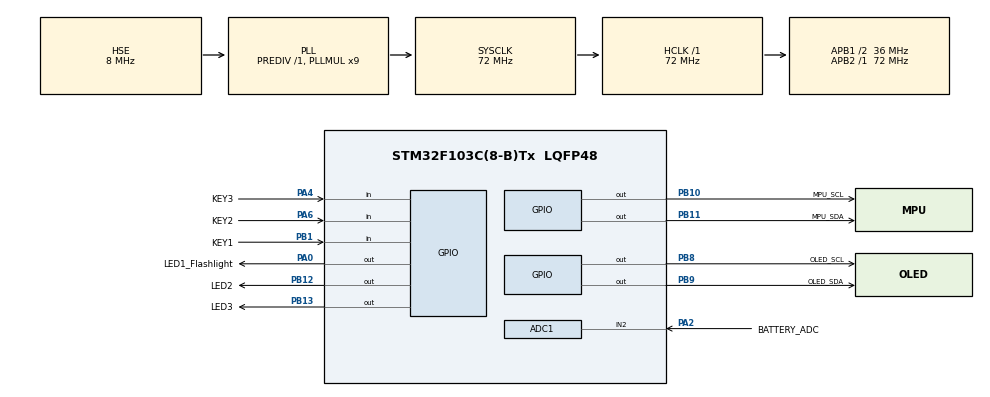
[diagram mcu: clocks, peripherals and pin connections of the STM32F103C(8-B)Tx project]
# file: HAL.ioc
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ADC1.Channel-0\#ChannelRegularConversion=ADC_CHANNEL_2
ADC1.NbrOfConversionFlag=1
ADC1.Rank-0\#ChannelRegularConversion=1
ADC1.SamplingTime-0\#ChannelRegularConversion=ADC_SAMPLETIME_1CYCLE_5
ADC1.master=1
FREERTOS.Tasks01=defaultTask,0,128,StartDefaultTask,Default,NULL,Dynamic,NULL,NULL
FREERTOS.configCHECK_FOR_STACK_OVERFLOW=2
FREERTOS.configLIBRARY_MAX_SYSCALL_INTERRUPT_PRIORITY=3
FREERTOS.configMAX_PRIORITIES=5
FREERTOS.configQUEUE_REGISTRY_SIZE=0
FREERTOS.configTOTAL_HEAP_SIZE=10240
FREERTOS.configUSE_IDLE_HOOK=1
FREERTOS.configUSE_MALLOC_FAILED_HOOK=1
FREERTOS.configUSE_STATS_FORMATTING_FUNCTIONS=1
FREERTOS.configUSE_TIMERS=1
FREERTOS.configUSE_TRACE_FACILITY=1
Mcu.Family=STM32F1
Mcu.Name=STM32F103C(8-B)Tx
Mcu.Package=LQFP48
NVIC.PriorityGroup=NVIC_PRIORITYGROUP_4
NVIC.TIM2_IRQn=true\:4\:0\:true\:false\:true\:true\:true\:true\:true
PA0-WKUP.GPIO_Label=LED1_Flashlight
PA0-WKUP.GPIO_ModeDefaultOutputPP=GPIO_MODE_OUTPUT_PP
PA0-WKUP.GPIO_Speed=GPIO_SPEED_FREQ_HIGH
PA0-WKUP.PinState=GPIO_PIN_SET
PA0-WKUP.Signal=GPIO_Output
PA13.Mode=Serial_Wire
PA13.Signal=SYS_JTMS-SWDIO
PA14.Mode=Serial_Wire
PA14.Signal=SYS_JTCK-SWCLK
PA2.GPIO_Label=BATTERY_ADC
PA2.Signal=ADCx_IN2
PA4.GPIO_Label=KEY3
PA4.GPIO_PuPd=GPIO_PULLUP
PA4.Signal=GPIO_Input
PA6.GPIO_Label=KEY2
PA6.GPIO_PuPd=GPIO_PULLUP
PA6.Signal=GPIO_Input
PB1.GPIO_Label=KEY1
PB1.GPIO_PuPd=GPIO_PULLUP
PB1.Signal=GPIO_Input
PB10.GPIO_Label=MPU_SCL
PB10.GPIO_ModeDefaultOutputPP=GPIO_MODE_OUTPUT_OD
PB10.GPIO_PuPd=GPIO_NOPULL
PB10.GPIO_Speed=GPIO_SPEED_FREQ_HIGH
PB10.Signal=GPIO_Output
PB11.GPIO_Label=MPU_SDA
PB11.GPIO_ModeDefaultOutputPP=GPIO_MODE_OUTPUT_OD
PB11.GPIO_PuPd=GPIO_NOPULL
PB11.GPIO_Speed=GPIO_SPEED_FREQ_HIGH
PB11.Signal=GPIO_Output
PB12.GPIO_Label=LED2
PB12.GPIO_ModeDefaultOutputPP=GPIO_MODE_OUTPUT_PP
PB12.GPIO_Speed=GPIO_SPEED_FREQ_HIGH
PB12.Signal=GPIO_Output
PB13.GPIO_Label=LED3
PB13.GPIO_Speed=GPIO_SPEED_FREQ_HIGH
PB13.PinState=GPIO_PIN_SET
PB13.Signal=GPIO_Output
PB8.GPIO_Label=OLED_SCL
PB8.GPIO_ModeDefaultOutputPP=GPIO_MODE_OUTPUT_OD
PB8.GPIO_PuPd=GPIO_NOPULL
PB8.GPIO_Speed=GPIO_SPEED_FREQ_HIGH
PB8.Signal=GPIO_Output
PB9.GPIO_Label=OLED_SDA
PB9.GPIO_ModeDefaultOutputPP=GPIO_MODE_OUTPUT_OD
PB9.GPIO_PuPd=GPIO_NOPULL
PB9.GPIO_Speed=GPIO_SPEED_FREQ_HIGH
PB9.Signal=GPIO_Output
PC14-OSC32_IN.Mode=LSE-External-Oscillator
PC14-OSC32_IN.Signal=RCC_OSC32_IN
PC15-OSC32_OUT.Mode=LSE-External-Oscillator
PC15-OSC32_OUT.Signal=RCC_OSC32_OUT
PD0-OSC_IN.Mode=HSE-External-Oscillator
PD0-OSC_IN.Signal=RCC_OSC_IN
PD1-OSC_OUT.Mode=HSE-External-Oscillator
PD1-OSC_OUT.Signal=RCC_OSC_OUT
ProjectManager.HeapSize=0x200
ProjectManager.StackSize=0x400
ProjectManager.TargetToolchain=MDK-ARM V5.32
RCC.ADCPresc=RCC_ADCPCLK2_DIV6
RCC.AHBFreq_Value=72000000
RCC.APB1CLKDivider=RCC_HCLK_DIV2
RCC.APB1Freq_Value=36000000
RCC.APB1TimFreq_Value=72000000
RCC.APB2Freq_Value=72000000
RCC.APB2TimFreq_Value=72000000
RCC.HCLKFreq_Value=72000000
RCC.PLLMUL=RCC_PLL_MUL9
RCC.PLLSourceVirtual=RCC_PLLSOURCE_HSE
RCC.RTCClockSelection=RCC_RTCCLKSOURCE_LSE
RCC.SYSCLKFreq_VALUE=72000000
RCC.SYSCLKSource=RCC_SYSCLKSOURCE_PLLCLK
RCC.USBFreq_Value=72000000
RTC.AsynchPrediv=32767
RTC.AutoPrediv=0
SH.ADCx_IN2.0=ADC1_IN2,IN2
TIM2.AutoReloadPreload=TIM_AUTORELOAD_PRELOAD_ENABLE
TIM2.Period=99
TIM2.Prescaler=719
VP_FREERTOS_VS_CMSIS_V1.Mode=CMSIS_V1
VP_RTC_VS_RTC_Activate.Mode=RTC_Enabled
VP_RTC_VS_RTC_Calendar.Mode=RTC_Calendar
VP_TIM2_VS_ClockSourceINT.Mode=Internal
board=custom

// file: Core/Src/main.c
/* USER CODE BEGIN Header */
/**
  ******************************************************************************
  * @file           : main.c
  * @brief          : Main program body
  ******************************************************************************
  * @attention
  *
  * Copyright (c) 2026 STMicroelectronics.
  * All rights reserved.
  *
  * This software is licensed under terms that can be found in the LICENSE file
  * in the root directory of this software component.
  * If no LICENSE file comes with this software, it is provided AS-IS.
  *
  ******************************************************************************
  */
/* USER CODE END Header */
#include "main.h"
#include "cmsis_os.h"

/* USER CODE BEGIN Includes */
#include "Hardware/Key.h"
#include "Hardware/OLED.h"
#include "Hardware/menu.h"
#include "Hardware/MPU6050.h"
#include "MyRTC.h"
#include "FreeRTOS.h"
#include "task.h"
/* USER CODE END Includes */

ADC_HandleTypeDef hadc1;

RTC_HandleTypeDef hrtc;

TIM_HandleTypeDef htim2;

//osThreadId defaultTaskHandle;
/* USER CODE BEGIN PV */
/* Phase 3: ClockUI_Move_Flag removed — replaced by g_CurrentPage state machine */
/* USER CODE END PV */

void SystemClock_Config(void);
static void MX_GPIO_Init(void);
static void MX_ADC1_Init(void);
static void MX_TIM2_Init(void);
static void MX_RTC_Init(void);
//void StartDefaultTask(void const * argument);

/* USER CODE BEGIN PFP */
extern void Task_Input(void *pvParameters);
extern void Task_UI(void *pvParameters);
extern void Task_Sensor(void *pvParameters);
/* USER CODE END PFP */

int main(void)
{

  /* MCU Configuration--------------------------------------------------------*/

  /* Reset of all peripherals, Initializes the Flash interface and the Systick. */
  HAL_Init();

  /* Configure the system clock */
  SystemClock_Config();

  /* Initialize all configured peripherals */
  MX_GPIO_Init();
  MX_ADC1_Init();
  MX_TIM2_Init();
  MX_RTC_Init();
  /* USER CODE BEGIN 2 */
  Key_Init();
  OLED_Init();
  MPU6050_Init();
  MyRTC_Init();
  HAL_TIM_Base_Start_IT(&htim2);	/* 启动TIM2中断，1ms周期调用KeyTick/StopClock_Tick等回调 */

  OLED_Clear();
  Show_Clock_UI();
  OLED_Update();
  /* USER CODE END 2 */

  /* Create the thread(s) */
  /* definition and creation of defaultTask */
  //osThreadDef(defaultTask, StartDefaultTask, osPriorityNormal, 0, 128);
  //defaultTaskHandle = osThreadCreate(osThread(defaultTask), NULL);

  /* USER CODE BEGIN RTOS_THREADS */
  /* Phase 2: 创建 Task_Input — 按键处理任务（优先级 3，栈 384 bytes） */
  xTaskCreate(Task_Input, "Task_Input", 96, NULL, 3, &Task_Input_Handle);
  /* Phase 3: 创建 Task_UI — 统一页面渲染任务（优先级 2，栈 1280 bytes） */
  xTaskCreate(Task_UI, "Task_UI", 320, NULL, 2, &Task_UI_Handle);
  /* Phase 4: 创建 Task_Sensor — 传感器数据处理任务（优先级 1，栈 128 bytes） */
  xTaskCreate(Task_Sensor, "Task_Sensor", 128, NULL, 1, &Task_Sensor_Handle);
  /* USER CODE END RTOS_THREADS */

  /* Start scheduler */
  osKernelStart();

  /* We should never get here as control is now taken by the scheduler */

  /* Infinite loop */
  while (1)
  {

    /* USER CODE BEGIN 3 */
    /* Phase 3: 裸机超级循环已移除。
     * 所有页面渲染由 Task_UI (优先级 2) 统一管理，
     * 按键输入由 Task_Input (优先级 3) 处理。
     * 调度器启动后永远不会执行到这里。 */
  }
  /* USER CODE END 3 */
}

void SystemClock_Config(void)
{
  RCC_OscInitTypeDef RCC_OscInitStruct = {0};
  RCC_ClkInitTypeDef RCC_ClkInitStruct = {0};
  RCC_PeriphCLKInitTypeDef PeriphClkInit = {0};

  /** Initializes the RCC Oscillators according to the specified parameters
  * in the RCC_OscInitTypeDef structure.
  */
  RCC_OscInitStruct.OscillatorType = RCC_OSCILLATORTYPE_HSE|RCC_OSCILLATORTYPE_LSE;
  RCC_OscInitStruct.HSEState = RCC_HSE_ON;
  RCC_OscInitStruct.HSEPredivValue = RCC_HSE_PREDIV_DIV1;
  RCC_OscInitStruct.LSEState = RCC_LSE_ON;
  RCC_OscInitStruct.HSIState = RCC_HSI_ON;
  RCC_OscInitStruct.PLL.PLLState = RCC_PLL_ON;
  RCC_OscInitStruct.PLL.PLLSource = RCC_PLLSOURCE_HSE;
  RCC_OscInitStruct.PLL.PLLMUL = RCC_PLL_MUL9;
  if (HAL_RCC_OscConfig(&RCC_OscInitStruct) != HAL_OK)
  {
    Error_Handler();
  }

  /** Initializes the CPU, AHB and APB buses clocks
  */
  RCC_ClkInitStruct.ClockType = RCC_CLOCKTYPE_HCLK|RCC_CLOCKTYPE_SYSCLK
                              |RCC_CLOCKTYPE_PCLK1|RCC_CLOCKTYPE_PCLK2;
  RCC_ClkInitStruct.SYSCLKSource = RCC_SYSCLKSOURCE_PLLCLK;
  RCC_ClkInitStruct.AHBCLKDivider = RCC_SYSCLK_DIV1;
  RCC_ClkInitStruct.APB1CLKDivider = RCC_HCLK_DIV2;
  RCC_ClkInitStruct.APB2CLKDivider = RCC_HCLK_DIV1;

  if (HAL_RCC_ClockConfig(&RCC_ClkInitStruct, FLASH_LATENCY_2) != HAL_OK)
  {
    Error_Handler();
  }
  PeriphClkInit.PeriphClockSelection = RCC_PERIPHCLK_RTC|RCC_PERIPHCLK_ADC;
  PeriphClkInit.RTCClockSelection = RCC_RTCCLKSOURCE_LSE;
  PeriphClkInit.AdcClockSelection = RCC_ADCPCLK2_DIV6;
  if (HAL_RCCEx_PeriphCLKConfig(&PeriphClkInit) != HAL_OK)
  {
    Error_Handler();
  }
}

static void MX_ADC1_Init(void)
{

  ADC_ChannelConfTypeDef sConfig = {0};

  /** Common config
  */
  hadc1.Instance = ADC1;
  hadc1.Init.ScanConvMode = ADC_SCAN_DISABLE;
  hadc1.Init.ContinuousConvMode = DISABLE;
  hadc1.Init.DiscontinuousConvMode = DISABLE;
  hadc1.Init.ExternalTrigConv = ADC_SOFTWARE_START;
  hadc1.Init.DataAlign = ADC_DATAALIGN_RIGHT;
  hadc1.Init.NbrOfConversion = 1;
  if (HAL_ADC_Init(&hadc1) != HAL_OK)
  {
    Error_Handler();
  }

  /** Configure Regular Channel
  */
  sConfig.Channel = ADC_CHANNEL_2;
  sConfig.Rank = ADC_REGULAR_RANK_1;
  sConfig.SamplingTime = ADC_SAMPLETIME_1CYCLE_5;
  if (HAL_ADC_ConfigChannel(&hadc1, &sConfig) != HAL_OK)
  {
    Error_Handler();
  }

}

static void MX_RTC_Init(void)
{

  RTC_TimeTypeDef sTime = {0};
  RTC_DateTypeDef DateToUpdate = {0};

  /** Initialize RTC Only
  */
  hrtc.Instance = RTC;
  hrtc.Init.AsynchPrediv = 32767;
  hrtc.Init.OutPut = RTC_OUTPUTSOURCE_ALARM;
  if (HAL_RTC_Init(&hrtc) != HAL_OK)
  {
    Error_Handler();
  }

  /* USER CODE BEGIN Check_RTC_BKUP */
  if (HAL_RTCEx_BKUPRead(&hrtc, RTC_BKP_DR1) == 0xA5A5)
  {
    return;
  }
  /* USER CODE END Check_RTC_BKUP */

  /** Initialize RTC and set the Time and Date
  */
  sTime.Hours = 0x0;
  sTime.Minutes = 0x0;
  sTime.Seconds = 0x0;

  if (HAL_RTC_SetTime(&hrtc, &sTime, RTC_FORMAT_BCD) != HAL_OK)
  {
    Error_Handler();
  }
  DateToUpdate.WeekDay = RTC_WEEKDAY_MONDAY;
  DateToUpdate.Month = RTC_MONTH_JANUARY;
  DateToUpdate.Date = 0x1;
  DateToUpdate.Year = 0x0;

  if (HAL_RTC_SetDate(&hrtc, &DateToUpdate, RTC_FORMAT_BCD) != HAL_OK)
  {
    Error_Handler();
  }

}

static void MX_TIM2_Init(void)
{

  TIM_ClockConfigTypeDef sClockSourceConfig = {0};
  TIM_MasterConfigTypeDef sMasterConfig = {0};

  htim2.Instance = TIM2;
  htim2.Init.Prescaler = 719;
  htim2.Init.CounterMode = TIM_COUNTERMODE_UP;
  htim2.Init.Period = 99;
  htim2.Init.ClockDivision = TIM_CLOCKDIVISION_DIV1;
  htim2.Init.AutoReloadPreload = TIM_AUTORELOAD_PRELOAD_ENABLE;
  if (HAL_TIM_Base_Init(&htim2) != HAL_OK)
  {
    Error_Handler();
  }
  sClockSourceConfig.ClockSource = TIM_CLOCKSOURCE_INTERNAL;
  if (HAL_TIM_ConfigClockSource(&htim2, &sClockSourceConfig) != HAL_OK)
  {
    Error_Handler();
  }
  sMasterConfig.MasterOutputTrigger = TIM_TRGO_RESET;
  sMasterConfig.MasterSlaveMode = TIM_MASTERSLAVEMODE_DISABLE;
  if (HAL_TIMEx_MasterConfigSynchronization(&htim2, &sMasterConfig) != HAL_OK)
  {
    Error_Handler();
  }

}

static void MX_GPIO_Init(void)
{
  GPIO_InitTypeDef GPIO_InitStruct = {0};

  /* GPIO Ports Clock Enable */
  __HAL_RCC_GPIOC_CLK_ENABLE();
  __HAL_RCC_GPIOD_CLK_ENABLE();
  __HAL_RCC_GPIOA_CLK_ENABLE();
  __HAL_RCC_GPIOB_CLK_ENABLE();

  /*Configure GPIO pin Output Level */
  HAL_GPIO_WritePin(LED1_Flashlight_GPIO_Port, LED1_Flashlight_Pin, GPIO_PIN_SET);

  /*Configure GPIO pin Output Level */
  HAL_GPIO_WritePin(GPIOB, MPU_SCL_Pin|MPU_SDA_Pin|LED2_Pin|OLED_SCL_Pin
                          |OLED_SDA_Pin, GPIO_PIN_RESET);

  /*Configure GPIO pin Output Level */
  HAL_GPIO_WritePin(LED3_GPIO_Port, LED3_Pin, GPIO_PIN_SET);

  /*Configure GPIO pin : LED1_Flashlight_Pin */
  GPIO_InitStruct.Pin = LED1_Flashlight_Pin;
  GPIO_InitStruct.Mode = GPIO_MODE_OUTPUT_PP;
  GPIO_InitStruct.Pull = GPIO_NOPULL;
  GPIO_InitStruct.Speed = GPIO_SPEED_FREQ_HIGH;
  HAL_GPIO_Init(LED1_Flashlight_GPIO_Port, &GPIO_InitStruct);

  /*Configure GPIO pins : KEY3_Pin KEY2_Pin */
  GPIO_InitStruct.Pin = KEY3_Pin|KEY2_Pin;
  GPIO_InitStruct.Mode = GPIO_MODE_INPUT;
  GPIO_InitStruct.Pull = GPIO_PULLUP;
  HAL_GPIO_Init(GPIOA, &GPIO_InitStruct);

  /*Configure GPIO pin : KEY1_Pin */
  GPIO_InitStruct.Pin = KEY1_Pin;
  GPIO_InitStruct.Mode = GPIO_MODE_INPUT;
  GPIO_InitStruct.Pull = GPIO_PULLUP;
  HAL_GPIO_Init(KEY1_GPIO_Port, &GPIO_InitStruct);

  /*Configure GPIO pins : MPU_SCL_Pin MPU_SDA_Pin OLED_SCL_Pin OLED_SDA_Pin */
  GPIO_InitStruct.Pin = MPU_SCL_Pin|MPU_SDA_Pin|OLED_SCL_Pin|OLED_SDA_Pin;
  GPIO_InitStruct.Mode = GPIO_MODE_OUTPUT_OD;
  GPIO_InitStruct.Pull = GPIO_NOPULL;
  GPIO_InitStruct.Speed = GPIO_SPEED_FREQ_HIGH;
  HAL_GPIO_Init(GPIOB, &GPIO_InitStruct);

  /*Configure GPIO pins : LED2_Pin LED3_Pin */
  GPIO_InitStruct.Pin = LED2_Pin|LED3_Pin;
  GPIO_InitStruct.Mode = GPIO_MODE_OUTPUT_PP;
  GPIO_InitStruct.Pull = GPIO_NOPULL;
  GPIO_InitStruct.Speed = GPIO_SPEED_FREQ_HIGH;
  HAL_GPIO_Init(GPIOB, &GPIO_InitStruct);

}

// void StartDefaultTask(void const * argument)
// {
  /* USER CODE BEGIN 5 */
  /* Infinite loop */
  // for(;;)
  // {
  //   osDelay(1);
  // }
  /* USER CODE END 5 */
// }

void Error_Handler(void)
{
  __disable_irq();
  while (1)
  {
  }
}

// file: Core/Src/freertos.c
/* USER CODE BEGIN Header */
/**
  ******************************************************************************
  * File Name          : freertos.c
  * Description        : Code for freertos applications
  ******************************************************************************
  * @attention
  *
  * Copyright (c) 2026 STMicroelectronics.
  * All rights reserved.
  *
  * This software is licensed under terms that can be found in the LICENSE file
  * in the root directory of this software component.
  * If no LICENSE file comes with this software, it is provided AS-IS.
  *
  ******************************************************************************
  */
/* USER CODE END Header */

#include "FreeRTOS.h"
#include "task.h"
#include "main.h"

/* USER CODE BEGIN Includes */
#include "Hardware/Key.h"
#include "power.h"
#include "Hardware/menu.h"
#include "Hardware/MPU6050.h"
/* USER CODE END Includes */

/* USER CODE BEGIN FunctionPrototypes */
void Task_Input(void *pvParameters);
void Task_UI(void *pvParameters);
void Task_Sensor(void *pvParameters);
extern void Task_UI_RenderFrame(uint8_t key);
/* USER CODE END FunctionPrototypes */

/* GetIdleTaskMemory prototype (linked to static allocation support) */
void vApplicationGetIdleTaskMemory( StaticTask_t **ppxIdleTaskTCBBuffer, StackType_t **ppxIdleTaskStackBuffer, uint32_t *pulIdleTaskStackSize );

/* GetTimerTaskMemory prototype (linked to static allocation support) */
void vApplicationGetTimerTaskMemory( StaticTask_t **ppxTimerTaskTCBBuffer, StackType_t **ppxTimerTaskStackBuffer, uint32_t *pulTimerTaskStackSize );

/* Hook prototypes */
void vApplicationIdleHook(void);
void vApplicationStackOverflowHook(xTaskHandle xTask, signed char *pcTaskName);
void vApplicationMallocFailedHook(void);

/* USER CODE BEGIN 2 */
void vApplicationIdleHook( void )
{
   /* Phase 3: 统一休眠点 — 替代原 9 个页面函数中各自的手动 __WFI()
    * 空闲任务每次迭代执行 WFI，MCU 进入低功耗等待中断唤醒。
    * 不能阻塞、不能调用 API。 */
   __WFI();
}
/* USER CODE END 2 */

/* USER CODE BEGIN 4 */
__weak void vApplicationStackOverflowHook(xTaskHandle xTask, signed char *pcTaskName)
{
   /* Run time stack overflow checking is performed if
   configCHECK_FOR_STACK_OVERFLOW is defined to 1 or 2. This hook function is
   called if a stack overflow is detected. */
}
/* USER CODE END 4 */

/* USER CODE BEGIN 5 */
__weak void vApplicationMallocFailedHook(void)
{
   /* vApplicationMallocFailedHook() will only be called if
   configUSE_MALLOC_FAILED_HOOK is set to 1 in FreeRTOSConfig.h. It is a hook
   function that will get called if a call to pvPortMalloc() fails.
   pvPortMalloc() is called internally by the kernel whenever a task, queue,
   timer or semaphore is created. It is also called by various parts of the
   demo application. If heap_1.c or heap_2.c are used, then the size of the
   heap available to pvPortMalloc() is defined by configTOTAL_HEAP_SIZE in
   FreeRTOSConfig.h, and the xPortGetFreeHeapSize() API function can be used
   to query the size of free heap space that remains (although it does not
   provide information on how the remaining heap might be fragmented). */
}
/* USER CODE END 5 */

/* USER CODE BEGIN GET_IDLE_TASK_MEMORY */
static StaticTask_t xIdleTaskTCBBuffer;
static StackType_t xIdleStack[configMINIMAL_STACK_SIZE];

void vApplicationGetIdleTaskMemory( StaticTask_t **ppxIdleTaskTCBBuffer, StackType_t **ppxIdleTaskStackBuffer, uint32_t *pulIdleTaskStackSize )
{
  *ppxIdleTaskTCBBuffer = &xIdleTaskTCBBuffer;
  *ppxIdleTaskStackBuffer = &xIdleStack[0];
  *pulIdleTaskStackSize = configMINIMAL_STACK_SIZE;
  /* place for user code */
}
/* USER CODE END GET_IDLE_TASK_MEMORY */

/* USER CODE BEGIN GET_TIMER_TASK_MEMORY */
static StaticTask_t xTimerTaskTCBBuffer;
static StackType_t xTimerStack[configTIMER_TASK_STACK_DEPTH];

void vApplicationGetTimerTaskMemory( StaticTask_t **ppxTimerTaskTCBBuffer, StackType_t **ppxTimerTaskStackBuffer, uint32_t *pulTimerTaskStackSize )
{
  *ppxTimerTaskTCBBuffer = &xTimerTaskTCBBuffer;
  *ppxTimerTaskStackBuffer = &xTimerStack[0];
  *pulTimerTaskStackSize = configTIMER_TASK_STACK_DEPTH;
  /* place for user code */
}
/* USER CODE END GET_TIMER_TASK_MEMORY */

/* USER CODE BEGIN Application */

/**
  * @brief  Task_Input — 按键处理任务
  * @param  pvParameters: 未使用
  * @retval 无
  * @note   优先级 3（最高用户任务），栈 384 bytes
  *         阻塞等待 TIM2 ISR 的 Task Notification，
  *         处理全局按键（Key3 长按关机），
  *         其他按键转发给 Task_UI（Phase 3 实现）。
  */
void Task_Input(void *pvParameters)
{
  uint8_t key;
  (void)pvParameters;

  for (;;)
  {
    /* 阻塞等待 ISR 通知（无限等待，零 CPU 开销） */
    ulTaskNotifyTake(pdTRUE, portMAX_DELAY);

    /* 读取并消费按键值 */
    key = Key_GetNum();

    if (key == 4)
    {
      /* Key3 长按 — 翻转 PB12/PB13 PMOS 电源控制（与旧版 STD 行为一致） */
      if (POWER_IsRunning())
      {
        POWER_Shutdown();   /* PB13 HIGH→LOW(关机), PB12 LOW→HIGH(ADC断开) */
      }
      else
      {
        POWER_Boot();       /* PB13 LOW→HIGH(运行), PB12 HIGH→LOW(ADC开启) */
      }
    }
    else if (key != 0)
    {
      /* 其他按键转发给 Task_UI（Phase 3 实现） */
      if (Task_UI_Handle != NULL)
      {
        xTaskNotify(Task_UI_Handle, key, eSetValueWithOverwrite);
      }
    }
  }
}

/**
  * @brief  Task_UI — 统一页面渲染任务
  * @param  pvParameters: 未使用
  * @retval 无
 * @note   优先级 2，栈 1280 bytes (320 words)
 *         独占 OLED I2C 总线，所有 12 个页面在此任务内渲染。
  *         xTaskNotifyWait(33ms) 同时实现帧率控制（30FPS）和按键事件驱动。
  *         实际渲染逻辑委托给 menu.c 的 Task_UI_RenderFrame()。
  */
void Task_UI(void *pvParameters)
{
  uint32_t key;
  (void)pvParameters;

  /* 初始页面已在 g_CurrentPage 中设为 PAGE_CLOCK */

  for (;;)
  {
    /* 等待按键通知（33ms 超时 = 30FPS 帧驱动，有按键时提前唤醒） */
    if (xTaskNotifyWait(0, 0xffffffffUL, &key, pdMS_TO_TICKS(FRAME_PERIOD_MS)) == pdTRUE)
    {
      /* 有按键：处理状态转换 + 渲染 */
      Task_UI_RenderFrame((uint8_t)key);
    }
    else
    {
      /* 超时（33ms 到期）：仅渲染（无按键） */
      Task_UI_RenderFrame(0);
    }
  }
}

/**
  * @brief  Task_Sensor — MPU6050 后台采样任务
  * @param  pvParameters: 未使用
  * @retval 无
  * @note   优先级 1（最低用户任务），栈 512 bytes (128 words)
  *         平时阻塞等待 Task_UI 通知，进入传感器页时启动采样。
  *         独占 MPU6050 I2C 总线 (PB10/PB11)，无需互斥锁。
  */
void Task_Sensor(void *pvParameters)
{
  uint32_t cmd;
  uint8_t warmup_count;
  (void)pvParameters;

  /* 初始状态：MPU6050 在 init 后已处于活跃状态，
   * 首次进入传感器页时无需 Wake，直接开始采样。
   * 之后正常走 Sleep/Wake 流程。 */
  uint8_t first_run = 1;

  for (;;)
  {
    /* 阻塞等待 Task_UI 通知（无限等待，零 CPU 开销） */
    xTaskNotifyWait(0, 0xffffffffUL, &cmd, portMAX_DELAY);

    if (cmd == SENSOR_CMD_START)
    {
      if (!first_run)
      {
        MPU6050_Wake();
        vTaskDelay(pdMS_TO_TICKS(MPU_SAMPLE_DELAY_MS));  /* 等待 MPU6050 退出睡眠 */
      }
      first_run = 0;

      /* 快速收敛期：前 20 个采样（100ms）让互补滤波器稳定 */
      for (warmup_count = 0; warmup_count < 20 && g_SensorActive; warmup_count++)
      {
        MPU6050_Calculation_Euler_angles();
        vTaskDelay(pdMS_TO_TICKS(MPU_SAMPLE_DELAY_MS));
      }

      /* 正常采样循环：5ms 周期 */
      while (g_SensorActive)
      {
        MPU6050_Calculation_Euler_angles();
        vTaskDelay(pdMS_TO_TICKS(MPU_SAMPLE_DELAY_MS));
      }

      /* 离开传感器页：MPU6050 进入睡眠省电 */
      MPU6050_Sleep();
    }
  }
}
/* USER CODE END Application */
